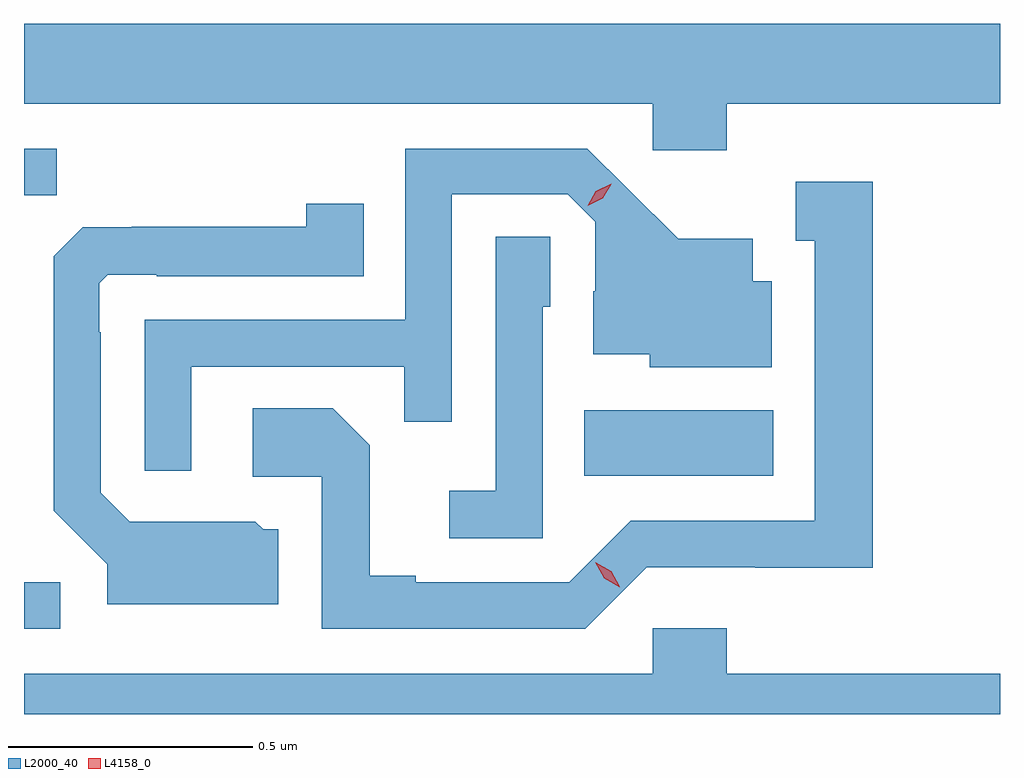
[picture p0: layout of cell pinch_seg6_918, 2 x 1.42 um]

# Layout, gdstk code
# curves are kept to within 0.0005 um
import gdstk
lib = gdstk.Library(unit=1e-6, precision=1e-09)
def R(c, l, rs):  # rectangles x0, y0, x1, y1
    for r in rs: c.add(gdstk.rectangle(r[:2], r[2:], *l))
def P(c, l, *ps):  # polygons
    for p in ps: c.add(gdstk.Polygon(p, *l))
L2000_40 = (2000, 40)
L4158_0 = (4158, 0)

pinch_seg6_918 = lib.new_cell('pinch_seg6_918')
R(pinch_seg6_918, L2000_40, [(153.98,920.952,154.054,921.048), (155.128,921.266,155.515,921.4), (153.98,921.841,154.047,921.936)])
P(pinch_seg6_918, L2000_40, [(155.42,922.028),(155.98,922.028),(155.98,922.192),(153.98,922.192),(153.98,922.028),(155.268,922.028),(155.268,921.933),(155.42,921.933)],
  [(154.323,921.489),(154.759,921.489),(154.759,921.376),(154.857,921.376),(154.857,921.843),(155.094,921.843),(155.151,921.786),(155.151,921.644),(155.147,921.644),(155.147,921.515),(155.262,921.515),(155.262,921.488),(155.512,921.488),(155.512,921.664),(155.473,921.664),(155.473,921.751),(155.321,921.751),(155.134,921.936),(154.761,921.936),(154.761,921.585),(154.227,921.585),(154.227,921.276),(154.323,921.276)],
  [(155.256,921.078),(155.478,921.078),(155.478,921.077),(155.719,921.077),(155.719,921.868),(155.561,921.868),(155.561,921.747),(155.6,921.747),(155.6,921.174),(155.223,921.174),(155.097,921.048),(154.783,921.048),(154.783,921.061),(154.689,921.061),(154.689,921.328),(154.613,921.404),(154.449,921.404),(154.449,921.264),(154.59,921.264),(154.59,920.952),(155.13,920.952)],
  [(154.501,921.156),(154.47,921.156),(154.454,921.172),(154.32,921.172),(154.32,921.171),(154.197,921.171),(154.137,921.231),(154.137,921.56),(154.134,921.56),(154.134,921.66),(154.152,921.678),(154.252,921.678),(154.252,921.675),(154.676,921.675),(154.676,921.823),(154.558,921.823),(154.558,921.776),(154.201,921.776),(154.201,921.775),(154.1,921.775),(154.041,921.716),(154.041,921.194),(154.151,921.084),(154.151,921.002),(154.501,921.002)],
  [(155.043,921.612),(155.058,921.612),(155.058,921.755),(154.947,921.755),(154.947,921.235),(154.851,921.235),(154.851,921.138),(155.043,921.138)],
  [(155.98,920.86),(155.42,920.86),(155.42,920.953),(155.268,920.953),(155.268,920.86),(153.98,920.86),(153.98,920.777),(155.98,920.777)])
P(pinch_seg6_918, L4158_0, [(155.201,921.037),(155.169,921.056),(155.151,921.089),(155.151,921.089),(155.151,921.089),(155.183,921.07),(155.201,921.038),(155.201,921.037)],
  [(155.135,921.819),(155.135,921.819),(155.152,921.849),(155.183,921.864),(155.183,921.864),(155.183,921.863),(155.166,921.834),(155.135,921.819)])

lib.write_gds('pinch_seg6_918.gds')
